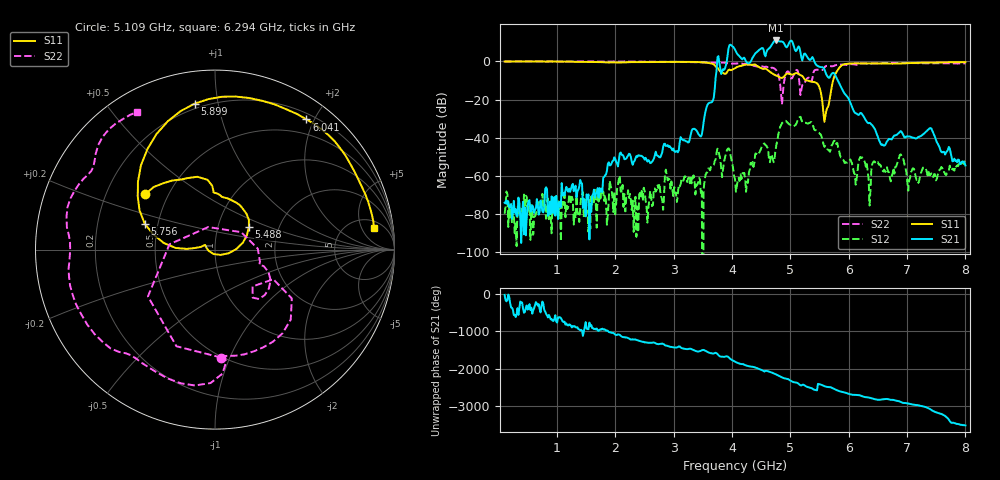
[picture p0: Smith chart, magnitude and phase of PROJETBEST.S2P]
!Agilent Technologies,E5071C,MY46214845,A.10.06
!Date: Fri Jan 10 11:00:47 2025
!Data & Calibration Information:
!Freq	S11:SOLT2(ON)	S21:SOLT2(ON)	S12:SOLT2(ON)	S22:SOLT2(ON)
!PortZ  Port1:50+j0  Port2:50+j0
!Above PortZ is port z conversion or system Z0 setting when saving the data.
!When reading, reference impedance value at option line is always used.
# Hz S dB R 50
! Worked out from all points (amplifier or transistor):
!   501 points, 100 MHz to 8 GHz, reference 50 ohm
!   highest |S21| = 11.1 dB at 4.745 GHz (marker M1)
!   |S21| within 3 dB of that: 4.667 GHz to 4.916 GHz (249.4 MHz wide, 5.2 % of centre)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
!   unconditionally stable (mu >= 1): 1.836 GHz to 1.97 GHz; 1.986 GHz to 2.195 GHz; 2.203 GHz to end of sweep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
!   at 1.411 GHz: K = -665.68, MSG = 3.7 dB, |S12| = -71.0 dB
!   at 4.05 GHz: K = 36.22, MAG = 15.5 dB, |S12| = -61.9 dB
!   at 8 GHz: K = 2401.66, MAG = -37.2 dB, |S12| = -54.0 dB
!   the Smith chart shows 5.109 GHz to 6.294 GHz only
!   S11 on the Smith chart (normalised r, x): 5.109 GHz: 0.37, +0.30; 5.488 GHz: 1.41, +0.37; 5.756 GHz: 0.42, +0.15; 5.899 GHz: 0.17, +0.85; 6.041 GHz: 0.28, +1.89; 6.294 GHz: 7, +9
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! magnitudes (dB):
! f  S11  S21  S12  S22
! 100 MHz  0.0  -74.2  -80.0  0.0
! 1.427 GHz  -0.2  -64.2  -70.1  0.0
! 1.585 GHz  -0.2  -79.1  -71.0  0.0
! 2.107 GHz  -0.5  -49.0  -68.4  0.0
! 2.739 GHz  -0.3  -49.8  -66.5  -0.1
! 3.465 GHz  -0.3  -39.5  -69.1  -0.4
! 3.75 GHz  -3.2  2.3  -45.8  -0.9
! 3.939 GHz  -4.4  6.9  -45.6  -1.1
! 4.05 GHz  -3.5  6.2  -61.9  -1.1
! 4.745 GHz  -7.3  11.1  -46.6  -4.2
! 4.856 GHz  -8.6  10.4  -32.4  -22.5
! 5.109 GHz  -6.1  6.0  -32.2  -4.4
! 5.377 GHz  -10.6  2.3  -32.7  -8.8
! 5.488 GHz  -12.9  -2.6  -37.4  -4.3
! 5.598 GHz  -28.9  -5.4  -44.4  -2.6
! 5.756 GHz  -7.6  -6.5  -41.7  -2.1
! 5.899 GHz  -1.7  -15.3  -51.1  -1.6
! 6.041 GHz  -1.0  -22.6  -52.5  -1.4
! 6.294 GHz  -1.0  -31.0  -55.4  -1.1
! 6.689 GHz  -1.2  -40.7  -58.2  -0.8
! 7.4 GHz  -0.6  -35.0  -59.8  -0.9
! 8 GHz  -0.4  -54.7  -54.0  -1.0
